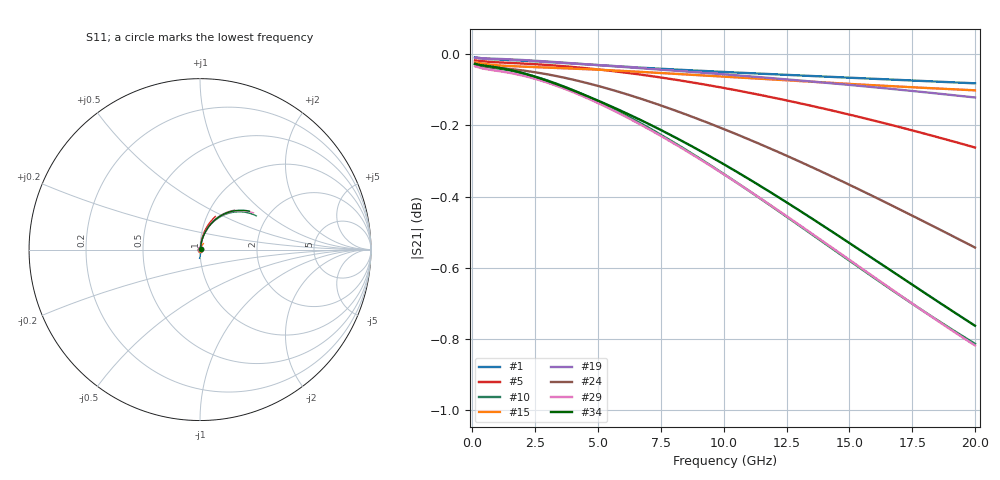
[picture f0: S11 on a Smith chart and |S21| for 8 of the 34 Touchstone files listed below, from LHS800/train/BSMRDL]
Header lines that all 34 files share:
! Touchstone file exported from HFSS 2026.1.0
!  Design:  BSMRDL
! Variables:
! Terminal data exported
# GHz S MA R 50.000000
Fixed: h_ox = 20um, h_rdl = 5um, h_sub = 80um, h_tmrdl = 5um, h_tsv = 80um, h_via = 3um, l_tmrdl = 200um, m_sub = 200um, r_tsv = 6um, s_tmrdl = 10um, w_sub = 500um, w_tmrdl = 12um, x_tsv_center1 = 206um
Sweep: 100 MHz to 20 GHz
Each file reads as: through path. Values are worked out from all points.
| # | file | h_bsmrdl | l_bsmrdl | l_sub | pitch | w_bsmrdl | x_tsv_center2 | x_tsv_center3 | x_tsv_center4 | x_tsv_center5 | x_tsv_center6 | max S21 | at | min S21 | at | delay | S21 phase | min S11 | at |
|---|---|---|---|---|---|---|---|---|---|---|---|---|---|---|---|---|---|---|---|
| 1 | dut700.s2p | 5.03um | 198.01um | 598.01um | 20.99um | 18.5um | 422.51um | 634.51um | 851.02um | 1063.02um | 1279.53um | -0.01 dB | 100 MHz | -0.1 dB | 20 GHz | 1.61 ps | -6 deg at 10.1 GHz | -60.6 dB | 100 MHz |
| 2 | dut701.s2p | 4.51um | 278.7um | 678.7um | 59.71um | 26.03um | 510.73um | 722.73um | 1027.46um | 1239.46um | 1544.19um | -0.01 dB | 100 MHz | -0.3 dB | 20 GHz | 3.12 ps | -12 deg at 10.1 GHz | -55.4 dB | 100 MHz |
| 3 | dut704.s2p | 3.17um | 597.01um | 997.01um | 36.59um | 24.06um | 827.07um | 1039.07um | 1660.14um | 1872.14um | 2493.21um | -0.03 dB | 100 MHz | -0.3 dB | 20 GHz | 5.11 ps | -19 deg at 10.1 GHz | -49.3 dB | 100 MHz |
| 4 | dut705.s2p | 3.68um | 277.73um | 677.73um | 51.94um | 25.9um | 509.63um | 721.63um | 1025.26um | 1237.26um | 1540.89um | -0.01 dB | 100 MHz | -0.2 dB | 20 GHz | 2.95 ps | -11 deg at 10.1 GHz | -55.2 dB | 100 MHz |
| 5 | dut706.s2p | 2.71um | 310.78um | 710.78um | 47.16um | 24.88um | 541.66um | 753.66um | 1089.32um | 1301.32um | 1636.98um | -0.02 dB | 100 MHz | -0.3 dB | 20 GHz | 3.2 ps | -12 deg at 10.1 GHz | -52.7 dB | 100 MHz |
| 6 | dut707.s2p | 5um | 111.88um | 511.88um | 54.38um | 17.63um | 335.51um | 547.51um | 677.02um | 889.02um | 1018.53um | -0.01 dB | 100 MHz | -0.1 dB | 20 GHz | 1.6 ps | -6 deg at 10.1 GHz | -60.3 dB | 100 MHz |
| 7 | dut708.s2p | 5.51um | 839.11um | 1239.11um | 32.77um | 13.17um | 1058.28um | 1270.28um | 2122.56um | 2334.56um | 3186.84um | -0.04 dB | 100 MHz | -1.0 dB | 20 GHz | 7.21 ps | -28 deg at 10.1 GHz | -45.8 dB | 100 MHz |
| 8 | dut709.s2p | 5.65um | 206.35um | 606.35um | 43.98um | 26.14um | 438.49um | 650.49um | 882.98um | 1094.98um | 1327.47um | -0.01 dB | 100 MHz | -0.1 dB | 20 GHz | 2 ps | -7 deg at 10.1 GHz | -60.6 dB | 100 MHz |
| 9 | dut710.s2p | 2.18um | 115.81um | 515.81um | 36.6um | 11.28um | 333.09um | 545.09um | 672.18um | 884.18um | 1011.27um | -0.02 dB | 100 MHz | -0.1 dB | 20 GHz | 1.61 ps | -6 deg at 10.1 GHz | -53.5 dB | 100 MHz |
| 10 | dut711.s2p | 4.05um | 928.54um | 1328.54um | 50.84um | 28.87um | 1163.41um | 1375.41um | 2332.82um | 2544.82um | 3502.23um | -0.03 dB | 100 MHz | -0.8 dB | 20 GHz | 7.96 ps | -30 deg at 10.1 GHz | -47.3 dB | 100 MHz |
| 11 | dut713.s2p | 3.22um | 283.69um | 683.69um | 17.07um | 15.91um | 505.6um | 717.6um | 1017.2um | 1229.2um | 1528.8um | -0.02 dB | 100 MHz | -0.2 dB | 20 GHz | 2.5 ps | -9 deg at 10.1 GHz | -53.2 dB | 100 MHz |
| 12 | dut714.s2p | 4.44um | 378.49um | 778.49um | 13.3um | 10.84um | 595.33um | 807.33um | 1196.66um | 1408.66um | 1797.99um | -0.03 dB | 100 MHz | -0.2 dB | 20 GHz | 2.92 ps | -11 deg at 10.1 GHz | -50.7 dB | 100 MHz |
| 13 | dut715.s2p | 3.83um | 276.36um | 676.36um | 38.37um | 28.36um | 510.72um | 722.72um | 1027.44um | 1239.44um | 1544.16um | -0.01 dB | 100 MHz | -0.1 dB | 20 GHz | 2.41 ps | -9 deg at 10.1 GHz | -57.6 dB | 100 MHz |
| 14 | dut716.s2p | 4.42um | 809.5um | 1209.5um | 30.16um | 15.33um | 1030.83um | 1242.83um | 2067.66um | 2279.66um | 3104.49um | -0.04 dB | 100 MHz | -0.7 dB | 20 GHz | 6.81 ps | -26 deg at 10.1 GHz | -46.0 dB | 100 MHz |
| 15 | dut718.s2p | 3.18um | 246.67um | 646.67um | 14.74um | 10.91um | 463.58um | 675.58um | 933.16um | 1145.16um | 1402.74um | -0.02 dB | 100 MHz | -0.1 dB | 20 GHz | 1.93 ps | -7 deg at 10.1 GHz | -51.3 dB | 100 MHz |
| 16 | dut720.s2p | 3.89um | 956.66um | 1356.66um | 58.34um | 28.3um | 1190.96um | 1402.96um | 2387.92um | 2599.92um | 3584.88um | -0.03 dB | 100 MHz | -1.2 dB | 20 GHz | 8.43 ps | -33 deg at 10.1 GHz | -46.1 dB | 100 MHz |
| 17 | dut721.s2p | 5.78um | 137.52um | 537.52um | 33.33um | 29.51um | 373.03um | 585.03um | 752.06um | 964.06um | 1131.09um | 0.00 dB | 100 MHz | 0.0 dB | 20 GHz | 1.16 ps | -4 deg at 10.1 GHz | -66.3 dB | 100 MHz |
| 18 | dut722.s2p | 4.17um | 565.13um | 965.13um | 59.85um | 26.51um | 797.64um | 1009.64um | 1601.28um | 1813.28um | 2404.92um | -0.02 dB | 100 MHz | -0.8 dB | 20 GHz | 5.59 ps | -21 deg at 10.1 GHz | -49.9 dB | 100 MHz |
| 19 | dut723.s2p | 5.68um | 255.03um | 655.03um | 31.02um | 16.52um | 477.55um | 689.55um | 961.1um | 1173.1um | 1444.65um | -0.01 dB | 100 MHz | -0.1 dB | 20 GHz | 2.31 ps | -9 deg at 10.1 GHz | -57.4 dB | 100 MHz |
| 20 | dut724.s2p | 5.81um | 322.84um | 722.84um | 33.21um | 15.64um | 544.48um | 756.48um | 1094.96um | 1306.96um | 1645.44um | -0.01 dB | 100 MHz | -0.2 dB | 20 GHz | 2.98 ps | -11 deg at 10.1 GHz | -55.1 dB | 100 MHz |
| 21 | dut725.s2p | 4.8um | 550.06um | 950.06um | 55.95um | 18.66um | 774.72um | 986.72um | 1555.44um | 1767.44um | 2336.16um | -0.02 dB | 100 MHz | -1.0 dB | 20 GHz | 5.65 ps | -22 deg at 10.1 GHz | -48.9 dB | 100 MHz |
| 22 | dut726.s2p | 4.13um | 424.66um | 824.66um | 33.66um | 26.11um | 656.77um | 868.77um | 1319.54um | 1531.54um | 1982.31um | -0.01 dB | 100 MHz | -0.1 dB | 20 GHz | 3.44 ps | -13 deg at 10.1 GHz | -54.8 dB | 100 MHz |
| 23 | dut727.s2p | 4.18um | 386.17um | 786.17um | 18.63um | 16.69um | 608.86um | 820.86um | 1223.72um | 1435.72um | 1838.58um | -0.02 dB | 100 MHz | -0.2 dB | 20 GHz | 3.13 ps | -12 deg at 10.1 GHz | -53.3 dB | 100 MHz |
| 24 | dut729.s2p | 3.56um | 604.19um | 1004.19um | 37.32um | 19.78um | 829.97um | 1041.97um | 1665.94um | 1877.94um | 2501.91um | -0.03 dB | 100 MHz | -0.5 dB | 20 GHz | 5.42 ps | -20 deg at 10.1 GHz | -48.3 dB | 100 MHz |
| 25 | dut730.s2p | 4.74um | 504.41um | 904.41um | 53.1um | 16.4um | 726.81um | 938.81um | 1459.62um | 1671.62um | 2192.43um | -0.02 dB | 100 MHz | -0.9 dB | 20 GHz | 5.31 ps | -20 deg at 10.1 GHz | -49.0 dB | 100 MHz |
| 26 | dut731.s2p | 5.78um | 355.99um | 755.99um | 48.76um | 26um | 587.99um | 799.99um | 1181.98um | 1393.98um | 1775.97um | -0.01 dB | 100 MHz | -0.2 dB | 20 GHz | 3.38 ps | -13 deg at 10.1 GHz | -56.0 dB | 100 MHz |
| 27 | dut732.s2p | 4.03um | 721.27um | 1121.27um | 32.4um | 21.52um | 948.79um | 1160.79um | 1903.58um | 2115.58um | 2858.37um | -0.03 dB | 100 MHz | -0.3 dB | 20 GHz | 5.9 ps | -22 deg at 10.1 GHz | -48.9 dB | 100 MHz |
| 28 | dut733.s2p | 2.99um | 483um | 883um | 39.1um | 18.78um | 707.78um | 919.78um | 1421.56um | 1633.56um | 2135.34um | -0.03 dB | 100 MHz | -0.5 dB | 20 GHz | 4.64 ps | -17 deg at 10.1 GHz | -48.5 dB | 100 MHz |
| 29 | dut734.s2p | 4.08um | 867.4um | 1267.4um | 38.96um | 20.53um | 1093.93um | 1305.93um | 2193.86um | 2405.86um | 3293.79um | -0.03 dB | 100 MHz | -0.8 dB | 20 GHz | 7.41 ps | -28 deg at 10.1 GHz | -46.4 dB | 100 MHz |
| 30 | dut735.s2p | 3.39um | 887.28um | 1287.28um | 39.49um | 29.86um | 1123.14um | 1335.14um | 2252.28um | 2464.28um | 3381.42um | -0.03 dB | 100 MHz | -0.3 dB | 20 GHz | 7.15 ps | -27 deg at 10.1 GHz | -48.2 dB | 100 MHz |
| 31 | dut736.s2p | 4.2um | 549.6um | 949.6um | 43.61um | 24.25um | 779.85um | 991.85um | 1565.7um | 1777.7um | 2351.55um | -0.02 dB | 100 MHz | -0.4 dB | 20 GHz | 4.96 ps | -19 deg at 10.1 GHz | -51.1 dB | 100 MHz |
| 32 | dut737.s2p | 3.32um | 153.5um | 553.5um | 33.09um | 18.61um | 378.11um | 590.11um | 762.22um | 974.22um | 1146.33um | -0.01 dB | 100 MHz | -0.1 dB | 20 GHz | 1.57 ps | -6 deg at 10.1 GHz | -58.1 dB | 100 MHz |
| 33 | dut738.s2p | 4.58um | 622.73um | 1022.73um | 42.89um | 23.12um | 851.85um | 1063.85um | 1709.7um | 1921.7um | 2567.55um | -0.02 dB | 100 MHz | -0.5 dB | 20 GHz | 5.53 ps | -21 deg at 10.1 GHz | -50.3 dB | 100 MHz |
| 34 | dut739.s2p | 5.91um | 818.55um | 1218.55um | 35.48um | 16.74um | 1041.29um | 1253.29um | 2088.58um | 2300.58um | 3135.87um | -0.03 dB | 100 MHz | -0.8 dB | 20 GHz | 6.92 ps | -26 deg at 10.1 GHz | -47.9 dB | 100 MHz |
